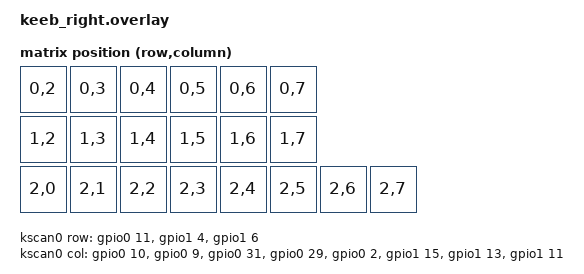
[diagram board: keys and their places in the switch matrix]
/* keeb — nice!nano v2 RIGHT HALF
 * Hardware: 3 rows × 8 cols, COL2ROW diodes
 *
 * Right col pins (KMK order): P0.10 P0.09 P0.31 P0.29 P0.02 P1.15 P1.13 P1.11
 * Right row pins (KMK order): P0.11 P1.04 P1.06
 *
 * This half is the PERIPHERAL (BLE slave).
 * Rows 0 and 1 only use cols 2-7 (cols 0-1 are unused in those rows per coord_mapping).
 */

#include <dt-bindings/zmk/matrix_transform.h>

/ {
    chosen {
        zmk,physical-layout = &physical_layout_right;
    };

    kscan0: kscan {
        compatible = "zmk,kscan-gpio-matrix";
        diode-direction = "col2row";
        wakeup-source;

        /* col2row: columns are driven outputs, rows are pulled inputs.
         * If keys don't register, swap GPIO_PULL_UP ↔ GPIO_PULL_DOWN on row-gpios. */
        col-gpios
            = <&gpio0 10 GPIO_ACTIVE_HIGH>   /* col 0 — P0.10 (unused in row 0 & 1) */
            , <&gpio0  9 GPIO_ACTIVE_HIGH>   /* col 1 — P0.09 (unused in row 0 & 1) */
            , <&gpio0 31 GPIO_ACTIVE_HIGH>   /* col 2 — P0.31 */
            , <&gpio0 29 GPIO_ACTIVE_HIGH>   /* col 3 — P0.29 */
            , <&gpio0  2 GPIO_ACTIVE_HIGH>   /* col 4 — P0.02 */
            , <&gpio1 15 GPIO_ACTIVE_HIGH>   /* col 5 — P1.15 */
            , <&gpio1 13 GPIO_ACTIVE_HIGH>   /* col 6 — P1.13 */
            , <&gpio1 11 GPIO_ACTIVE_HIGH>   /* col 7 — P1.11 */
            ;

        row-gpios
            = <&gpio0 11 (GPIO_ACTIVE_HIGH | GPIO_PULL_DOWN)>  /* row 0 — P0.11 */
            , <&gpio1  4 (GPIO_ACTIVE_HIGH | GPIO_PULL_DOWN)>  /* row 1 — P1.04 */
            , <&gpio1  6 (GPIO_ACTIVE_HIGH | GPIO_PULL_DOWN)>  /* row 2 — P1.06 */
            ;
    };

    /*
     * Map the 20 RIGHT keymap positions (6-11 top rows, 32-39 bottom row)
     * to their physical matrix locations (row, col).
     *
     * Rows 0 and 1 skip cols 0-1 (hardware unused).
     * Row 2 uses all 8 cols.
     */
    transform_right: transform_right {
        compatible = "zmk,matrix-transform";
        rows = <3>;
        columns = <8>;
        map = <
            /* Row 0: keymap pos 6-11 → physical R0C2-R0C7 (cols 0-1 unused) */
            RC(0,2) RC(0,3) RC(0,4) RC(0,5) RC(0,6) RC(0,7)

            /* Row 1: keymap pos 18-23 → physical R1C2-R1C7 (cols 0-1 unused) */
            RC(1,2) RC(1,3) RC(1,4) RC(1,5) RC(1,6) RC(1,7)

            /* Row 2: keymap pos 32-39 → physical R2C0-R2C7 (all 8 cols) */
            RC(2,0) RC(2,1) RC(2,2) RC(2,3) RC(2,4) RC(2,5) RC(2,6) RC(2,7)
        >;
    };

    physical_layout_right: physical_layout_right {
        compatible = "zmk,physical-layout";
        display-name = "Right Half";
        kscan = <&kscan0>;
        transform = <&transform_right>;
    };
};
